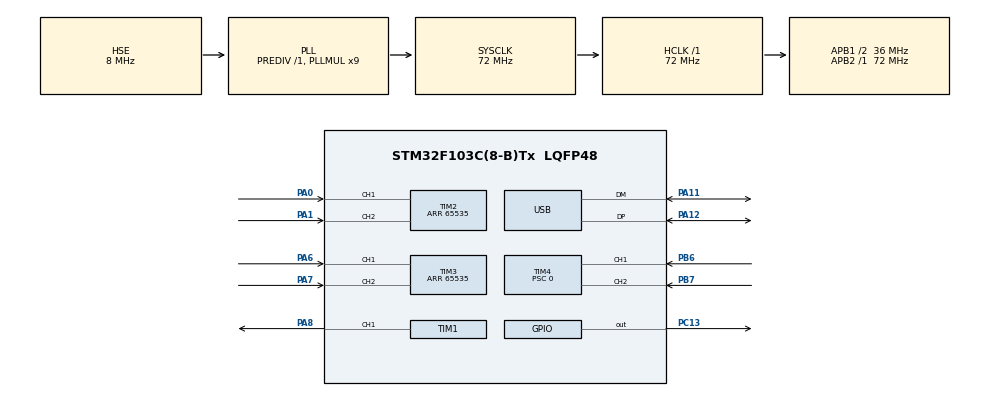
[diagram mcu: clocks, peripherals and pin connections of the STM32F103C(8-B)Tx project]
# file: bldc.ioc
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Mcu.Family=STM32F1
Mcu.Name=STM32F103C(8-B)Tx
Mcu.Package=LQFP48
NVIC.PriorityGroup=NVIC_PRIORITYGROUP_4
NVIC.USB_LP_CAN1_RX0_IRQn=true\:0\:0\:false\:false\:true\:false
PA0-WKUP.GPIO_PuPd=GPIO_PULLUP
PA0-WKUP.Signal=S_TIM2_CH1_ETR
PA1.GPIO_PuPd=GPIO_PULLUP
PA1.Signal=S_TIM2_CH2
PA11.Mode=Device
PA11.Signal=USB_DM
PA12.Mode=Device
PA12.Signal=USB_DP
PA13.Mode=Serial_Wire
PA13.Signal=SYS_JTMS-SWDIO
PA14.Mode=Serial_Wire
PA14.Signal=SYS_JTCK-SWCLK
PA6.GPIO_PuPd=GPIO_PULLUP
PA6.Signal=S_TIM3_CH1
PA7.GPIO_PuPd=GPIO_PULLUP
PA7.Signal=S_TIM3_CH2
PA8.GPIO_Speed=GPIO_SPEED_FREQ_HIGH
PA8.Signal=S_TIM1_CH1
PB6.GPIO_PuPd=GPIO_PULLUP
PB6.Signal=S_TIM4_CH1
PB7.GPIO_PuPd=GPIO_PULLUP
PB7.Signal=S_TIM4_CH2
PC13-TAMPER-RTC.GPIO_Speed=GPIO_SPEED_FREQ_HIGH
PC13-TAMPER-RTC.Signal=GPIO_Output
PD0-OSC_IN.Mode=HSE-External-Oscillator
PD0-OSC_IN.Signal=RCC_OSC_IN
PD1-OSC_OUT.Mode=HSE-External-Oscillator
PD1-OSC_OUT.Signal=RCC_OSC_OUT
ProjectManager.HeapSize=0x200
ProjectManager.StackSize=0x400
ProjectManager.TargetToolchain=SW4STM32
RCC.AHBFreq_Value=72000000
RCC.APB1CLKDivider=RCC_HCLK_DIV2
RCC.APB1Freq_Value=36000000
RCC.APB1TimFreq_Value=72000000
RCC.APB2Freq_Value=72000000
RCC.APB2TimFreq_Value=72000000
RCC.HCLKFreq_Value=72000000
RCC.PLLMUL=RCC_PLL_MUL9
RCC.SYSCLKFreq_VALUE=72000000
RCC.SYSCLKSource=RCC_SYSCLKSOURCE_PLLCLK
RCC.USBFreq_Value=48000000
RCC.USBPrescaler=RCC_USBCLKSOURCE_PLL_DIV1_5
SH.S_TIM1_CH1.0=TIM1_CH1,PWM Generation1 CH1
SH.S_TIM2_CH1_ETR.0=TIM2_CH1,Encoder_Interface
SH.S_TIM2_CH2.0=TIM2_CH2,Encoder_Interface
SH.S_TIM3_CH1.0=TIM3_CH1,Encoder_Interface
SH.S_TIM3_CH2.0=TIM3_CH2,Encoder_Interface
SH.S_TIM4_CH1.0=TIM4_CH1,Encoder_Interface
SH.S_TIM4_CH2.0=TIM4_CH2,Encoder_Interface
TIM1.Channel-PWM\ Generation1\ CH1=TIM_CHANNEL_1
TIM1.Period=2000-1
TIM1.Prescaler=720-1
TIM2.EncoderMode=TIM_ENCODERMODE_TI12
TIM2.IC1Filter=15
TIM2.IC2Filter=15
TIM2.Period=65535
TIM3.EncoderMode=TIM_ENCODERMODE_TI12
TIM3.IC1Filter=15
TIM3.IC2Filter=15
TIM3.Period=65535
TIM4.EncoderMode=TIM_ENCODERMODE_TI12
TIM4.IC1Filter=15
TIM4.IC2Filter=15
TIM4.Period=65535
TIM4.Prescaler=0
USB_DEVICE.CLASS_NAME_FS=CDC
USB_DEVICE.VirtualMode=Cdc
USB_DEVICE.VirtualModeFS=Cdc_FS
VP_USB_DEVICE_VS_USB_DEVICE_CDC_FS.Mode=CDC_FS
board=bldc

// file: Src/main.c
/**
  ******************************************************************************
  * @file           : main.c
  * @brief          : Main program body
  ******************************************************************************
  * This notice applies to any and all portions of this file
  * that are not between comment pairs USER CODE BEGIN and
  * USER CODE END. Other portions of this file, whether
  * inserted by the user or by software development tools
  * are owned by their respective copyright owners.
  *
  * Copyright (c) 2019 STMicroelectronics International N.V.
  * All rights reserved.
  *
  * Redistribution and use in source and binary forms, with or without
  * modification, are permitted, provided that the following conditions are met:
  *
  * 1. Redistribution of source code must retain the above copyright notice,
  *    this list of conditions and the following disclaimer.
  * 2. Redistributions in binary form must reproduce the above copyright notice,
  *    this list of conditions and the following disclaimer in the documentation
  *    and/or other materials provided with the distribution.
  * 3. Neither the name of STMicroelectronics nor the names of other
  *    contributors to this software may be used to endorse or promote products
  *    derived from this software without specific written permission.
  * 4. This software, including modifications and/or derivative works of this
  *    software, must execute solely and exclusively on microcontroller or
  *    microprocessor devices manufactured by or for STMicroelectronics.
  * 5. Redistribution and use of this software other than as permitted under
  *    this license is void and will automatically terminate your rights under
  *    this license.
  *
  * THIS SOFTWARE IS PROVIDED BY STMICROELECTRONICS AND CONTRIBUTORS "AS IS"
  * AND ANY EXPRESS, IMPLIED OR STATUTORY WARRANTIES, INCLUDING, BUT NOT
  * LIMITED TO, THE IMPLIED WARRANTIES OF MERCHANTABILITY, FITNESS FOR A
  * PARTICULAR PURPOSE AND NON-INFRINGEMENT OF THIRD PARTY INTELLECTUAL PROPERTY
  * RIGHTS ARE DISCLAIMED TO THE FULLEST EXTENT PERMITTED BY LAW. IN NO EVENT
  * SHALL STMICROELECTRONICS OR CONTRIBUTORS BE LIABLE FOR ANY DIRECT, INDIRECT,
  * INCIDENTAL, SPECIAL, EXEMPLARY, OR CONSEQUENTIAL DAMAGES (INCLUDING, BUT NOT
  * LIMITED TO, PROCUREMENT OF SUBSTITUTE GOODS OR SERVICES; LOSS OF USE, DATA,
  * OR PROFITS; OR BUSINESS INTERRUPTION) HOWEVER CAUSED AND ON ANY THEORY OF
  * LIABILITY, WHETHER IN CONTRACT, STRICT LIABILITY, OR TORT (INCLUDING
  * NEGLIGENCE OR OTHERWISE) ARISING IN ANY WAY OUT OF THE USE OF THIS SOFTWARE,
  * EVEN IF ADVISED OF THE POSSIBILITY OF SUCH DAMAGE.
  *
  ******************************************************************************
  */
#include "main.h"
#include "stm32f1xx_hal.h"
#include "usb_device.h"

/* USER CODE BEGIN Includes */

#include "math.h"
#include "usbd_cdc_if.h"

/* USER CODE END Includes */

TIM_HandleTypeDef htim1;
TIM_HandleTypeDef htim2;
TIM_HandleTypeDef htim3;
TIM_HandleTypeDef htim4;

/* USER CODE BEGIN PV */
/* Private variables ---------------------------------------------------------*/

/* USER CODE END PV */

void SystemClock_Config(void);
static void MX_GPIO_Init(void);
static void MX_TIM4_Init(void);
static void MX_TIM3_Init(void);
static void MX_TIM2_Init(void);
static void MX_TIM1_Init(void);
void HAL_TIM_MspPostInit(TIM_HandleTypeDef *htim);

/* USER CODE BEGIN PFP */
/* Private function prototypes -----------------------------------------------*/

/* USER CODE END PFP */

/* USER CODE BEGIN 0 */
void user_pwm_setvalue(uint16_t value) {
  TIM_OC_InitTypeDef sConfigOC;
  sConfigOC.OCMode = TIM_OCMODE_PWM1;
  sConfigOC.Pulse = value;
  sConfigOC.OCPolarity = TIM_OCPOLARITY_HIGH;
  sConfigOC.OCFastMode = TIM_OCFAST_DISABLE;
  HAL_TIM_PWM_ConfigChannel(&htim1, &sConfigOC, TIM_CHANNEL_1);
  HAL_TIM_PWM_Start(&htim1, TIM_CHANNEL_1);
}

/* USER CODE END 0 */

int main(void)
{

  /* MCU Configuration----------------------------------------------------------*/

  /* Reset of all peripherals, Initializes the Flash interface and the Systick. */
  HAL_Init();

  /* Configure the system clock */
  SystemClock_Config();

  /* Initialize all configured peripherals */
  MX_GPIO_Init();
  MX_TIM4_Init();
  MX_TIM3_Init();
  MX_TIM2_Init();
  MX_USB_DEVICE_Init();
  MX_TIM1_Init();
  /* USER CODE BEGIN 2 */

  HAL_TIM_Encoder_Start(&htim2, TIM_CHANNEL_ALL);
  HAL_TIM_Encoder_Start(&htim3, TIM_CHANNEL_ALL);
  HAL_TIM_Encoder_Start(&htim4, TIM_CHANNEL_ALL);

  HAL_TIM_PWM_Start(&htim1, TIM_CHANNEL_1);

  uint16_t pwm_value = 100;
  user_pwm_setvalue(pwm_value);
  uint16_t pwm_step = 1;
  uint32_t mseconds = DWT_us();
  uint32_t mseconds_prev = 0;
  float angle = 0, angle_prev = 0;

  /* USER CODE END 2 */

  /* Infinite loop */
  /* USER CODE BEGIN WHILE */
  HAL_Delay(5000);
  char buf[255];
  while (1) {
    mseconds_prev = mseconds;
    mseconds = HAL_GetTick();
    float dt = (mseconds - mseconds_prev) / 1000.; // seconds

    uint16_t a = TIM2->CNT;
    uint16_t b = TIM3->CNT;
    uint16_t c = TIM4->CNT;

    angle_prev = angle;
    float ticks = (a+b+c)/2.;
    angle = (2.*M_PI*ticks/42.);
    float speed = (angle-angle_prev)/dt;

    sprintf(buf,"%lu %f %u %u %u %u\r\n", mseconds, speed, a, b, c, pwm_value);
    CDC_Transmit_FS((uint8_t *)buf, strlen(buf));

    if (pwm_value <= 100) pwm_step = +2;
    if (pwm_value >= 200) pwm_step = -2;
    pwm_value += pwm_step;
    __HAL_TIM_SET_COMPARE(&htim1, TIM_CHANNEL_1, pwm_value);

    HAL_Delay(100);
    HAL_GPIO_TogglePin(GPIOC, GPIO_PIN_13);
  /* USER CODE END WHILE */

  }

}

void SystemClock_Config(void)
{

  RCC_OscInitTypeDef RCC_OscInitStruct;
  RCC_ClkInitTypeDef RCC_ClkInitStruct;
  RCC_PeriphCLKInitTypeDef PeriphClkInit;

    /**Initializes the CPU, AHB and APB busses clocks
    */
  RCC_OscInitStruct.OscillatorType = RCC_OSCILLATORTYPE_HSE;
  RCC_OscInitStruct.HSEState = RCC_HSE_ON;
  RCC_OscInitStruct.HSEPredivValue = RCC_HSE_PREDIV_DIV1;
  RCC_OscInitStruct.HSIState = RCC_HSI_ON;
  RCC_OscInitStruct.PLL.PLLState = RCC_PLL_ON;
  RCC_OscInitStruct.PLL.PLLSource = RCC_PLLSOURCE_HSE;
  RCC_OscInitStruct.PLL.PLLMUL = RCC_PLL_MUL9;
  if (HAL_RCC_OscConfig(&RCC_OscInitStruct) != HAL_OK)
  {
    _Error_Handler(__FILE__, __LINE__);
  }

    /**Initializes the CPU, AHB and APB busses clocks
    */
  RCC_ClkInitStruct.ClockType = RCC_CLOCKTYPE_HCLK|RCC_CLOCKTYPE_SYSCLK
                              |RCC_CLOCKTYPE_PCLK1|RCC_CLOCKTYPE_PCLK2;
  RCC_ClkInitStruct.SYSCLKSource = RCC_SYSCLKSOURCE_PLLCLK;
  RCC_ClkInitStruct.AHBCLKDivider = RCC_SYSCLK_DIV1;
  RCC_ClkInitStruct.APB1CLKDivider = RCC_HCLK_DIV2;
  RCC_ClkInitStruct.APB2CLKDivider = RCC_HCLK_DIV1;

  if (HAL_RCC_ClockConfig(&RCC_ClkInitStruct, FLASH_LATENCY_2) != HAL_OK)
  {
    _Error_Handler(__FILE__, __LINE__);
  }

  PeriphClkInit.PeriphClockSelection = RCC_PERIPHCLK_USB;
  PeriphClkInit.UsbClockSelection = RCC_USBCLKSOURCE_PLL_DIV1_5;
  if (HAL_RCCEx_PeriphCLKConfig(&PeriphClkInit) != HAL_OK)
  {
    _Error_Handler(__FILE__, __LINE__);
  }

    /**Configure the Systick interrupt time
    */
  HAL_SYSTICK_Config(HAL_RCC_GetHCLKFreq()/1000);

    /**Configure the Systick
    */
  HAL_SYSTICK_CLKSourceConfig(SYSTICK_CLKSOURCE_HCLK);

  /* SysTick_IRQn interrupt configuration */
  HAL_NVIC_SetPriority(SysTick_IRQn, 0, 0);
}

/* TIM1 init function */
static void MX_TIM1_Init(void)
{

  TIM_MasterConfigTypeDef sMasterConfig;
  TIM_OC_InitTypeDef sConfigOC;
  TIM_BreakDeadTimeConfigTypeDef sBreakDeadTimeConfig;

  htim1.Instance = TIM1;
  htim1.Init.Prescaler = 720-1;
  htim1.Init.CounterMode = TIM_COUNTERMODE_UP;
  htim1.Init.Period = 2000-1;
  htim1.Init.ClockDivision = TIM_CLOCKDIVISION_DIV1;
  htim1.Init.RepetitionCounter = 0;
  htim1.Init.AutoReloadPreload = TIM_AUTORELOAD_PRELOAD_DISABLE;
  if (HAL_TIM_PWM_Init(&htim1) != HAL_OK)
  {
    _Error_Handler(__FILE__, __LINE__);
  }

  sMasterConfig.MasterOutputTrigger = TIM_TRGO_RESET;
  sMasterConfig.MasterSlaveMode = TIM_MASTERSLAVEMODE_DISABLE;
  if (HAL_TIMEx_MasterConfigSynchronization(&htim1, &sMasterConfig) != HAL_OK)
  {
    _Error_Handler(__FILE__, __LINE__);
  }

  sConfigOC.OCMode = TIM_OCMODE_PWM1;
  sConfigOC.Pulse = 0;
  sConfigOC.OCPolarity = TIM_OCPOLARITY_HIGH;
  sConfigOC.OCNPolarity = TIM_OCNPOLARITY_HIGH;
  sConfigOC.OCFastMode = TIM_OCFAST_DISABLE;
  sConfigOC.OCIdleState = TIM_OCIDLESTATE_RESET;
  sConfigOC.OCNIdleState = TIM_OCNIDLESTATE_RESET;
  if (HAL_TIM_PWM_ConfigChannel(&htim1, &sConfigOC, TIM_CHANNEL_1) != HAL_OK)
  {
    _Error_Handler(__FILE__, __LINE__);
  }

  sBreakDeadTimeConfig.OffStateRunMode = TIM_OSSR_DISABLE;
  sBreakDeadTimeConfig.OffStateIDLEMode = TIM_OSSI_DISABLE;
  sBreakDeadTimeConfig.LockLevel = TIM_LOCKLEVEL_OFF;
  sBreakDeadTimeConfig.DeadTime = 0;
  sBreakDeadTimeConfig.BreakState = TIM_BREAK_DISABLE;
  sBreakDeadTimeConfig.BreakPolarity = TIM_BREAKPOLARITY_HIGH;
  sBreakDeadTimeConfig.AutomaticOutput = TIM_AUTOMATICOUTPUT_DISABLE;
  if (HAL_TIMEx_ConfigBreakDeadTime(&htim1, &sBreakDeadTimeConfig) != HAL_OK)
  {
    _Error_Handler(__FILE__, __LINE__);
  }

  HAL_TIM_MspPostInit(&htim1);

}

/* TIM2 init function */
static void MX_TIM2_Init(void)
{

  TIM_Encoder_InitTypeDef sConfig;
  TIM_MasterConfigTypeDef sMasterConfig;

  htim2.Instance = TIM2;
  htim2.Init.Prescaler = 0;
  htim2.Init.CounterMode = TIM_COUNTERMODE_UP;
  htim2.Init.Period = 65535;
  htim2.Init.ClockDivision = TIM_CLOCKDIVISION_DIV1;
  htim2.Init.AutoReloadPreload = TIM_AUTORELOAD_PRELOAD_DISABLE;
  sConfig.EncoderMode = TIM_ENCODERMODE_TI12;
  sConfig.IC1Polarity = TIM_ICPOLARITY_RISING;
  sConfig.IC1Selection = TIM_ICSELECTION_DIRECTTI;
  sConfig.IC1Prescaler = TIM_ICPSC_DIV1;
  sConfig.IC1Filter = 15;
  sConfig.IC2Polarity = TIM_ICPOLARITY_RISING;
  sConfig.IC2Selection = TIM_ICSELECTION_DIRECTTI;
  sConfig.IC2Prescaler = TIM_ICPSC_DIV1;
  sConfig.IC2Filter = 15;
  if (HAL_TIM_Encoder_Init(&htim2, &sConfig) != HAL_OK)
  {
    _Error_Handler(__FILE__, __LINE__);
  }

  sMasterConfig.MasterOutputTrigger = TIM_TRGO_RESET;
  sMasterConfig.MasterSlaveMode = TIM_MASTERSLAVEMODE_DISABLE;
  if (HAL_TIMEx_MasterConfigSynchronization(&htim2, &sMasterConfig) != HAL_OK)
  {
    _Error_Handler(__FILE__, __LINE__);
  }

}

/* TIM3 init function */
static void MX_TIM3_Init(void)
{

  TIM_Encoder_InitTypeDef sConfig;
  TIM_MasterConfigTypeDef sMasterConfig;

  htim3.Instance = TIM3;
  htim3.Init.Prescaler = 0;
  htim3.Init.CounterMode = TIM_COUNTERMODE_UP;
  htim3.Init.Period = 65535;
  htim3.Init.ClockDivision = TIM_CLOCKDIVISION_DIV1;
  htim3.Init.AutoReloadPreload = TIM_AUTORELOAD_PRELOAD_DISABLE;
  sConfig.EncoderMode = TIM_ENCODERMODE_TI12;
  sConfig.IC1Polarity = TIM_ICPOLARITY_RISING;
  sConfig.IC1Selection = TIM_ICSELECTION_DIRECTTI;
  sConfig.IC1Prescaler = TIM_ICPSC_DIV1;
  sConfig.IC1Filter = 15;
  sConfig.IC2Polarity = TIM_ICPOLARITY_RISING;
  sConfig.IC2Selection = TIM_ICSELECTION_DIRECTTI;
  sConfig.IC2Prescaler = TIM_ICPSC_DIV1;
  sConfig.IC2Filter = 15;
  if (HAL_TIM_Encoder_Init(&htim3, &sConfig) != HAL_OK)
  {
    _Error_Handler(__FILE__, __LINE__);
  }

  sMasterConfig.MasterOutputTrigger = TIM_TRGO_RESET;
  sMasterConfig.MasterSlaveMode = TIM_MASTERSLAVEMODE_DISABLE;
  if (HAL_TIMEx_MasterConfigSynchronization(&htim3, &sMasterConfig) != HAL_OK)
  {
    _Error_Handler(__FILE__, __LINE__);
  }

}

/* TIM4 init function */
static void MX_TIM4_Init(void)
{

  TIM_Encoder_InitTypeDef sConfig;
  TIM_MasterConfigTypeDef sMasterConfig;

  htim4.Instance = TIM4;
  htim4.Init.Prescaler = 0;
  htim4.Init.CounterMode = TIM_COUNTERMODE_UP;
  htim4.Init.Period = 65535;
  htim4.Init.ClockDivision = TIM_CLOCKDIVISION_DIV1;
  htim4.Init.AutoReloadPreload = TIM_AUTORELOAD_PRELOAD_DISABLE;
  sConfig.EncoderMode = TIM_ENCODERMODE_TI12;
  sConfig.IC1Polarity = TIM_ICPOLARITY_RISING;
  sConfig.IC1Selection = TIM_ICSELECTION_DIRECTTI;
  sConfig.IC1Prescaler = TIM_ICPSC_DIV1;
  sConfig.IC1Filter = 15;
  sConfig.IC2Polarity = TIM_ICPOLARITY_RISING;
  sConfig.IC2Selection = TIM_ICSELECTION_DIRECTTI;
  sConfig.IC2Prescaler = TIM_ICPSC_DIV1;
  sConfig.IC2Filter = 15;
  if (HAL_TIM_Encoder_Init(&htim4, &sConfig) != HAL_OK)
  {
    _Error_Handler(__FILE__, __LINE__);
  }

  sMasterConfig.MasterOutputTrigger = TIM_TRGO_RESET;
  sMasterConfig.MasterSlaveMode = TIM_MASTERSLAVEMODE_DISABLE;
  if (HAL_TIMEx_MasterConfigSynchronization(&htim4, &sMasterConfig) != HAL_OK)
  {
    _Error_Handler(__FILE__, __LINE__);
  }

}

/** Configure pins as
        * Analog
        * Input
        * Output
        * EVENT_OUT
        * EXTI
*/
static void MX_GPIO_Init(void)
{

  GPIO_InitTypeDef GPIO_InitStruct;

  /* GPIO Ports Clock Enable */
  __HAL_RCC_GPIOC_CLK_ENABLE();
  __HAL_RCC_GPIOD_CLK_ENABLE();
  __HAL_RCC_GPIOA_CLK_ENABLE();
  __HAL_RCC_GPIOB_CLK_ENABLE();

  /*Configure GPIO pin Output Level */
  HAL_GPIO_WritePin(GPIOC, GPIO_PIN_13, GPIO_PIN_RESET);

  /*Configure GPIO pin : PC13 */
  GPIO_InitStruct.Pin = GPIO_PIN_13;
  GPIO_InitStruct.Mode = GPIO_MODE_OUTPUT_PP;
  GPIO_InitStruct.Pull = GPIO_NOPULL;
  GPIO_InitStruct.Speed = GPIO_SPEED_FREQ_HIGH;
  HAL_GPIO_Init(GPIOC, &GPIO_InitStruct);

}

void _Error_Handler(char *file, int line)
{
  while(1)
  {
  }
}

/************************ (C) COPYRIGHT STMicroelectronics *****END OF FILE****/
